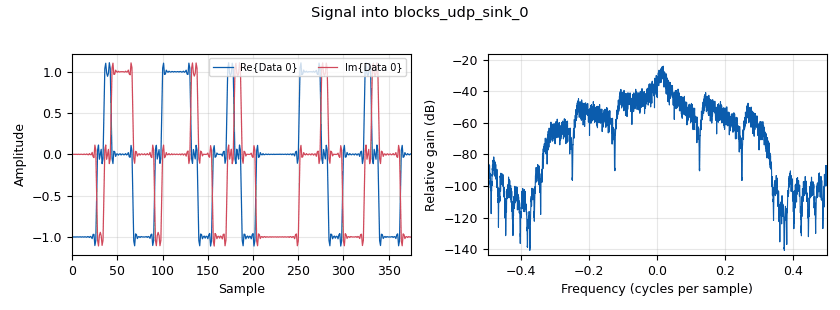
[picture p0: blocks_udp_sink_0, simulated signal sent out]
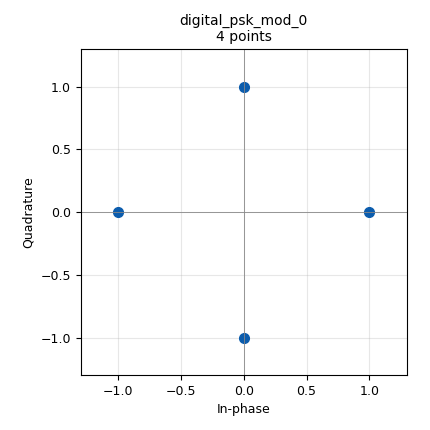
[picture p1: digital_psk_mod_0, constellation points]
<?xml version='1.0' encoding='utf-8'?>
<?grc format='1' created='3.7.13'?>
<flow_graph>
<block>
<key>options</key>
<param><key>id</key><value>TVWS</value></param>
<param><key>author</key><value>Mario Castaneda</value></param>
<param><key>description</key><value>Prueba piloto del protocolo PAWS</value></param>
<param><key>generate_options</key><value>no_gui</value></param>
<param><key>title</key><value>Transmision simulando un TVWS</value></param>
</block>
<block>
<key>variable</key>
<param><key>id</key><value>freq</value></param>
<param><key>value</key><value>0</value></param>
</block>
<block>
<key>variable</key>
<param><key>id</key><value>samp_rate</value></param>
<param><key>value</key><value>32000</value></param>
</block>
<block>
<key>analog_random_source_x</key>
<param><key>id</key><value>analog_random_source_x_0</value></param>
<param><key>max</key><value>2</value></param>
<param><key>min</key><value>0</value></param>
<param><key>num_samps</key><value>1000</value></param>
<param><key>type</key><value>byte</value></param>
<param><key>repeat</key><value>True</value></param>
</block>
<block>
<key>blocks_udp_sink</key>
<param><key>id</key><value>blocks_udp_sink_0</value></param>
<param><key>ipaddr</key><value>127.0.0.1</value></param>
<param><key>port</key><value>8888</value></param>
<param><key>type</key><value>complex</value></param>
<param><key>psize</key><value>1472</value></param>
<param><key>eof</key><value>True</value></param>
<param><key>vlen</key><value>1</value></param>
</block>
<block>
<key>digital_psk_mod</key>
<param><key>id</key><value>digital_psk_mod_0</value></param>
<param><key>differential</key><value>True</value></param>
<param><key>excess_bw</key><value>0.35</value></param>
<param><key>mod_code</key><value>"gray"</value></param>
<param><key>constellation_points</key><value>4</value></param>
<param><key>samples_per_symbol</key><value>2</value></param>
</block>
<block>
<key>uhd_usrp_sink</key>
<param><key>id</key><value>uhd_usrp_sink_0</value></param>
<param><key>ant0</key><value>TX/RX</value></param>
<param><key>center_freq0</key><value>freq</value></param>
<param><key>norm_gain0</key><value>False</value></param>
<param><key>gain0</key><value>50</value></param>
<param><key>clock_rate</key><value>0.0</value></param>
<param><key>dev_args</key><value>""</value></param>
<param><key>_enabled</key><value>0</value></param>
<param><key>type</key><value>item32</value></param>
<param><key>samp_rate</key><value>samp_rate</value></param>
<param><key>hide_cmd_port</key><value>False</value></param>
<param><key>hide_lo_controls</key><value>True</value></param>
<param><key>sync</key><value></value></param>
<param><key>len_tag_name</key><value></value></param>
</block>
<connection><source_block_id>analog_random_source_x_0</source_block_id><sink_block_id>digital_psk_mod_0</sink_block_id><source_key>0</source_key><sink_key>0</sink_key></connection>
<connection><source_block_id>digital_psk_mod_0</source_block_id><sink_block_id>blocks_udp_sink_0</sink_block_id><source_key>0</source_key><sink_key>0</sink_key></connection>
<connection><source_block_id>digital_psk_mod_0</source_block_id><sink_block_id>uhd_usrp_sink_0</sink_block_id><source_key>0</source_key><sink_key>0</sink_key></connection>
</flow_graph>
